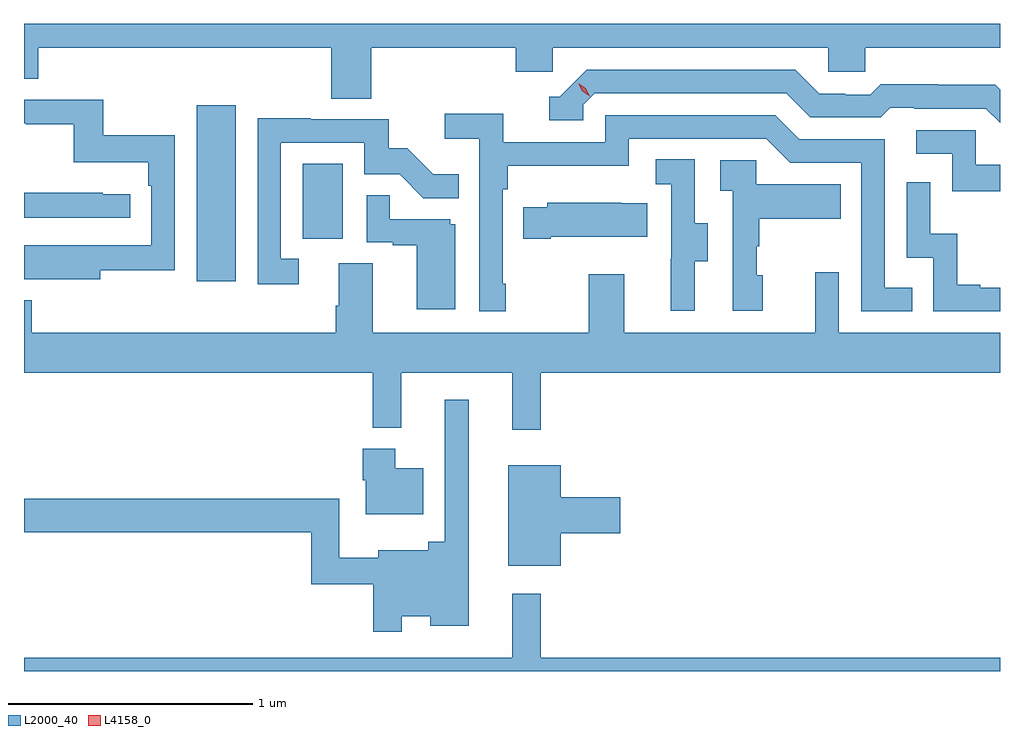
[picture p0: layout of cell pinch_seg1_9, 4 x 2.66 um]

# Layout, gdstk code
import gdstk
lib = gdstk.Library(unit=1e-6, precision=1e-09)
def R(c, l, rs):  # rectangles x0, y0, x1, y1
    for r in rs: c.add(gdstk.rectangle(r[:2], r[2:], *l))
def P(c, l, *ps):  # polygons
    for p in ps: c.add(gdstk.Polygon(p, *l))
L2000_40 = (2000, 40)
L4158_0 = (4158, 0)

pinch_seg1_9 = lib.new_cell('pinch_seg1_9')
R(pinch_seg1_9, L2000_40, [(1104.167,582.744,1104.328,583.465), (1104.602,582.918,1104.766,583.225)])
P(pinch_seg1_9, L2000_40, [(1104.884,583.7),(1105.475,583.7),(1105.475,583.602),(1105.626,583.602),(1105.626,583.7),(1106.757,583.7),(1106.757,583.602),(1106.907,583.602),(1106.907,583.7),(1107.46,583.7),(1107.46,583.8),(1103.46,583.8),(1103.46,583.573),(1103.519,583.573),(1103.519,583.7),(1104.719,583.7),(1104.719,583.492),(1104.884,583.492)],
  [(1107.46,583.529),(1107.44,583.549),(1107.204,583.549),(1107.204,583.552),(1106.971,583.552),(1106.929,583.509),(1106.826,583.509),(1106.826,583.512),(1106.719,583.512),(1106.62,583.611),(1105.767,583.611),(1105.656,583.5),(1105.613,583.5),(1105.613,583.404),(1105.752,583.404),(1105.752,583.467),(1105.8,583.515),(1106.583,583.515),(1106.682,583.416),(1106.971,583.416),(1107.01,583.455),(1107.109,583.455),(1107.109,583.452),(1107.402,583.452),(1107.46,583.394)],
  [(1103.773,582.79),(1104.078,582.79),(1104.078,583.342),(1103.785,583.342),(1103.785,583.488),(1103.46,583.488),(1103.46,583.392),(1103.467,583.392),(1103.467,583.387),(1103.664,583.387),(1103.664,583.232),(1103.969,583.232),(1103.969,583.136),(1103.982,583.136),(1103.982,582.891),(1103.669,582.891),(1103.669,582.892),(1103.46,582.892),(1103.46,582.752),(1103.773,582.752)],
  [(1105.435,582.733),(1105.422,582.733),(1105.422,583.121),(1105.442,583.121),(1105.442,583.217),(1105.938,583.217),(1105.938,583.329),(1106.502,583.329),(1106.601,583.23),(1106.892,583.23),(1106.892,582.621),(1107.101,582.621),(1107.101,582.717),(1106.988,582.717),(1106.988,583.326),(1106.638,583.326),(1106.539,583.425),(1105.842,583.425),(1105.842,583.314),(1105.424,583.314),(1105.424,583.43),(1105.185,583.43),(1105.185,583.328),(1105.326,583.328),(1105.326,582.621),(1105.435,582.621)],
  [(1104.586,582.837),(1104.513,582.837),(1104.513,583.311),(1104.855,583.311),(1104.855,583.182),(1104.999,583.182),(1105.097,583.084),(1105.241,583.084),(1105.241,583.183),(1105.137,583.183),(1105.03,583.29),(1104.954,583.29),(1104.954,583.407),(1104.635,583.407),(1104.635,583.412),(1104.417,583.412),(1104.417,582.732),(1104.586,582.732)],
  [(1107.46,583.221),(1107.36,583.221),(1107.36,583.362),(1107.117,583.362),(1107.117,583.266),(1107.264,583.266),(1107.264,583.113),(1107.46,583.113)],
  [(1106.209,582.826),(1106.263,582.826),(1106.263,582.981),(1106.208,582.981),(1106.208,583.244),(1106.049,583.244),(1106.049,583.141),(1106.112,583.141),(1106.112,582.837),(1106.111,582.837),(1106.111,582.624),(1106.209,582.624)],
  [(1106.488,582.768),(1106.463,582.768),(1106.463,582.887),(1106.473,582.887),(1106.473,583.001),(1106.807,583.001),(1106.807,583.141),(1106.46,583.141),(1106.46,583.239),(1106.313,583.239),(1106.313,583.115),(1106.364,583.115),(1106.364,582.624),(1106.488,582.624)],
  [(1107.46,582.717),(1107.379,582.717),(1107.379,582.73),(1107.284,582.73),(1107.284,582.938),(1107.174,582.938),(1107.174,583.15),(1107.078,583.15),(1107.078,582.84),(1107.186,582.84),(1107.186,582.621),(1107.46,582.621)],
  [(1103.896,583.101),(1103.783,583.101),(1103.783,583.106),(1103.46,583.106),(1103.46,583.005),(1103.896,583.005)],
  [(1105.228,582.978),(1105.206,582.978),(1105.206,582.999),(1104.959,582.999),(1104.959,583.097),(1104.864,583.097),(1104.864,582.903),(1104.971,582.903),(1104.971,582.891),(1105.07,582.891),(1105.07,582.63),(1105.228,582.63)],
  [(1105.618,582.926),(1106.015,582.926),(1106.015,583.063),(1105.907,583.063),(1105.907,583.066),(1105.605,583.066),(1105.605,583.048),(1105.507,583.048),(1105.507,582.919),(1105.618,582.919)],
  [(1105.577,582.368),(1107.46,582.368),(1107.46,582.532),(1106.799,582.532),(1106.799,582.781),(1106.702,582.781),(1106.702,582.532),(1105.921,582.532),(1105.921,582.772),(1105.774,582.772),(1105.774,582.532),(1104.889,582.532),(1104.889,582.818),(1104.749,582.818),(1104.749,582.644),(1104.737,582.644),(1104.737,582.532),(1103.492,582.532),(1103.492,582.667),(1103.46,582.667),(1103.46,582.368),(1104.889,582.368),(1104.889,582.143),(1105.007,582.143),(1105.007,582.368),(1105.46,582.368),(1105.46,582.135),(1105.577,582.135)],
  [(1105.008,581.372),(1105.124,581.372),(1105.124,581.333),(1105.282,581.333),(1105.282,582.259),(1105.185,582.259),(1105.185,581.677),(1105.117,581.677),(1105.117,581.641),(1104.911,581.641),(1104.911,581.611),(1104.753,581.611),(1104.753,581.852),(1103.46,581.852),(1103.46,581.716),(1104.637,581.716),(1104.637,581.502),(1104.892,581.502),(1104.892,581.307),(1105.008,581.307)],
  [(1105.096,581.977),(1104.982,581.977),(1104.982,582.058),(1104.848,582.058),(1104.848,581.929),(1104.86,581.929),(1104.86,581.789),(1105.096,581.789)],
  [(1105.66,581.711),(1105.903,581.711),(1105.903,581.858),(1105.66,581.858),(1105.66,581.989),(1105.445,581.989),(1105.445,581.579),(1105.66,581.579)],
  [(1107.46,581.2),(1105.577,581.2),(1105.577,581.464),(1105.46,581.464),(1105.46,581.2),(1103.46,581.2),(1103.46,581.145),(1107.46,581.145)])
P(pinch_seg1_9, L4158_0, [(1105.778,583.502),(1105.747,583.522),(1105.731,583.555),(1105.731,583.556),(1105.732,583.556),(1105.762,583.536),(1105.778,583.503),(1105.778,583.502)])

lib.write_gds('pinch_seg1_9.gds')
